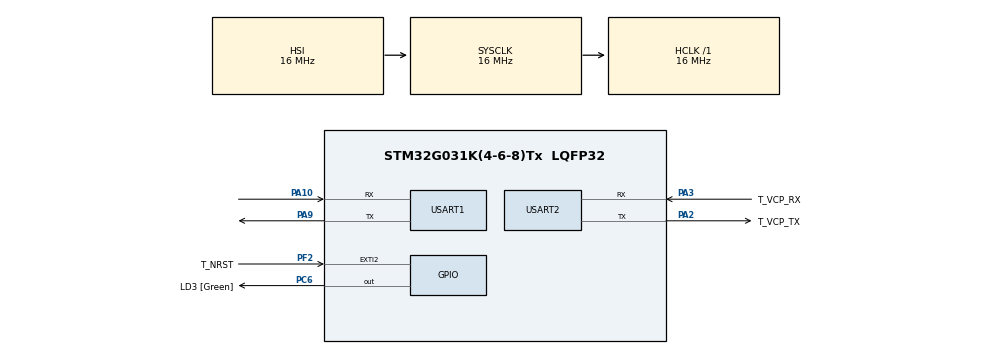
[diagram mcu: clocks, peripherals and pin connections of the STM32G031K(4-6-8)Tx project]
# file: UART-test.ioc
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Mcu.Family=STM32G0
Mcu.Name=STM32G031K(4-6-8)Tx
Mcu.Package=LQFP32
NVIC.USART1_IRQn=true\:0\:0\:false\:false\:true\:true\:true\:true
NVIC.USART2_IRQn=true\:0\:0\:false\:false\:true\:true\:true\:true
PA10.Mode=Asynchronous
PA10.Signal=USART1_RX
PA13.GPIO_Label=T_JTMS
PA13.Mode=Serial_Wire
PA13.Signal=SYS_SWDIO
PA14-BOOT0.GPIO_Label=T_JTCK
PA14-BOOT0.Mode=Serial_Wire
PA14-BOOT0.Signal=SYS_SWCLK
PA2.GPIO_Label=T_VCP_TX
PA2.GPIO_PuPd=GPIO_PULLUP
PA2.Mode=Asynchronous
PA2.Signal=USART2_TX
PA3.GPIO_Label=T_VCP_RX
PA3.GPIO_PuPd=GPIO_PULLUP
PA3.Mode=Asynchronous
PA3.Signal=USART2_RX
PA9.Mode=Asynchronous
PA9.Signal=USART1_TX
PC14-OSC32_IN\ (PC14).Mode=LSE-External-Oscillator
PC14-OSC32_IN\ (PC14).Signal=RCC_OSC32_IN
PC15-OSC32_OUT\ (PC15).Mode=LSE-External-Oscillator
PC15-OSC32_OUT\ (PC15).Signal=RCC_OSC32_OUT
PC6.GPIO_Label=LD3 [Green]
PC6.Signal=GPIO_Output
PF2\ -\ NRST.GPIO_Label=T_NRST
PF2\ -\ NRST.Signal=GPXTI2
ProjectManager.HeapSize=0x200
ProjectManager.StackSize=0x400
ProjectManager.TargetToolchain=STM32CubeIDE
RCC.AHBFreq_Value=16000000
RCC.CortexFreq_Value=16000000
RCC.EXTERNAL_CLOCK_VALUE=12288000
RCC.HCLKFreq_Value=16000000
RCC.HSE_VALUE=8000000
RCC.HSI_VALUE=16000000
RCC.SYSCLKFreq_VALUE=16000000
RCC.VCOOutputFreq_Value=128000000
USART1.VirtualMode-Asynchronous=VM_ASYNC
USART2.VirtualMode-Asynchronous=VM_ASYNC
USART2.WordLength=WORDLENGTH_7B
board=NUCLEO-G031K8

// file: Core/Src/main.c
/* USER CODE BEGIN Header */
/**
  ******************************************************************************
  * @file           : main.c
  * @brief          : Main program body
  ******************************************************************************
  * @attention
  *
  * Copyright (c) 2024 STMicroelectronics.
  * All rights reserved.
  *
  * This software is licensed under terms that can be found in the LICENSE file
  * in the root directory of this software component.
  * If no LICENSE file comes with this software, it is provided AS-IS.
  *
  ******************************************************************************
  */
/* USER CODE END Header */
#include "main.h"

/* USER CODE BEGIN Includes */
#include <stdbool.h>
/* USER CODE END Includes */

UART_HandleTypeDef huart1;
UART_HandleTypeDef huart2;

void SystemClock_Config(void);
static void MX_GPIO_Init(void);
static void MX_USART1_UART_Init(void);
static void MX_USART2_UART_Init(void);

/* USER CODE BEGIN 0 */
#define RX_SIZE 64
#define MAX_PAYLOAD 16

#define STARTBYTE 0xAA
#define ENDBYTE 0x55

typedef struct
{
	uint8_t StartByte;
	uint8_t Length;
	uint8_t Payload[MAX_PAYLOAD];
	uint8_t CheckSum;
	uint8_t EndByte;
}Received_Frame;

typedef struct {
	uint8_t data[RX_SIZE];
	uint16_t head, tail;
}RingBuffer;

typedef struct{
	uint8_t payload[MAX_PAYLOAD];
	uint8_t length;
}Packet;

bool push_byte(RingBuffer *rb, uint8_t byte)
{
	rb->data[rb->head] = byte ;
	rb->head += 1;

	if (rb->head == RX_SIZE)
	{
		rb->head = 0; // Roll Back
	}

	if (rb->head == rb->tail)
	{
		return 1;			// buffer Full
	}

	return 0;
}
bool pop_byte(RingBuffer *rb, uint8_t *byte)
{
	byte = rb->data[rb->tail] ;
	rb->tail += 1;

	if (rb->tail == RX_SIZE)
	{
		rb->tail = 0; // Roll Back
	}

	if (rb->tail == rb->head)
	{
		return 1;			// buffer Full
	}

	return 0;

}
typedef enum
{
	ST_Wait=0,
	ST_Parse
}STMType;

RingBuffer Rxbuff;
Packet SensorData;
bool parser_feed(uint8_t byte, Packet *packet)
{
	static STMType StateMachine;
	uint8_t checksum=0;
	switch(StateMachine)
	{
		case ST_Wait:			// wait until 16 bytes are received to chalculate the checksum
		{
			uint8_t received_byte = Rxbuff.Head - Rxbuff.tail;

			if (received_byte >= 16)		// check 16 are received
			{
				if ((Rxbuff.data[Rxbuff.tail] == STARTBYTE) && (Rxbuff.data[Rxbuff.head] == ENDBYTE)) 							// check header
				{
					 checksum=checksum(Rxbuff.data,  received_byte);
					 if (checksum == Rxbuff.data[Rxbuff.head-1])		// valid Data
					 {
						 StateMachine = ST_Parse;
					 }
					 else
					 {
						 	 	 	 	 	 	 	 	 	 	 	 	// Not valid data, parse upto next start of frame by incrementing tail
					 }
				}
			}
			break;
		}
		case ST_Parse:
		{
			uint8_t i;
			for (i = Rxbuff.tail; i< Rxbuff.head; i++)
			{
				SensorData.payload[i] = Rxbuff.data[Rxbuff.tail + i];		// copy main DATA
			}

			break;
		}
	}

}

uint8_t CheckSum(const uint8_t *buffer, uint8_t size)
{
	uint8_t i=0;
	uint8_t checksum =0 ;
	for (i=0; i<size; i++)
	{
		checksum = buffer[i] ^ checksum;
	}
	return checksum;
}

uint8_t rx;
/* USER CODE END 0 */

int main(void)
{

  /* MCU Configuration--------------------------------------------------------*/

  /* Reset of all peripherals, Initializes the Flash interface and the Systick. */
  HAL_Init();

  /* Configure the system clock */
  SystemClock_Config();

  /* Initialize all configured peripherals */
  MX_GPIO_Init();
  MX_USART1_UART_Init();
  MX_USART2_UART_Init();
  /* USER CODE BEGIN 2 */
	HAL_UART_Receive_IT(&huart1, &rx, 1);
	HAL_UART_Receive_IT(&huart2, &rx, 1);
  /* USER CODE END 2 */

  /* Infinite loop */
  while (1)
  {

  }
}

void SystemClock_Config(void)
{
  RCC_OscInitTypeDef RCC_OscInitStruct = {0};
  RCC_ClkInitTypeDef RCC_ClkInitStruct = {0};

  /** Configure the main internal regulator output voltage
  */
  HAL_PWREx_ControlVoltageScaling(PWR_REGULATOR_VOLTAGE_SCALE1);

  /** Initializes the RCC Oscillators according to the specified parameters
  * in the RCC_OscInitTypeDef structure.
  */
  RCC_OscInitStruct.OscillatorType = RCC_OSCILLATORTYPE_HSI;
  RCC_OscInitStruct.HSIState = RCC_HSI_ON;
  RCC_OscInitStruct.HSIDiv = RCC_HSI_DIV1;
  RCC_OscInitStruct.HSICalibrationValue = RCC_HSICALIBRATION_DEFAULT;
  RCC_OscInitStruct.PLL.PLLState = RCC_PLL_NONE;
  if (HAL_RCC_OscConfig(&RCC_OscInitStruct) != HAL_OK)
  {
    Error_Handler();
  }

  /** Initializes the CPU, AHB and APB buses clocks
  */
  RCC_ClkInitStruct.ClockType = RCC_CLOCKTYPE_HCLK|RCC_CLOCKTYPE_SYSCLK
                              |RCC_CLOCKTYPE_PCLK1;
  RCC_ClkInitStruct.SYSCLKSource = RCC_SYSCLKSOURCE_HSI;
  RCC_ClkInitStruct.AHBCLKDivider = RCC_SYSCLK_DIV1;
  RCC_ClkInitStruct.APB1CLKDivider = RCC_HCLK_DIV1;

  if (HAL_RCC_ClockConfig(&RCC_ClkInitStruct, FLASH_LATENCY_0) != HAL_OK)
  {
    Error_Handler();
  }
}

static void MX_USART1_UART_Init(void)
{

  huart1.Instance = USART1;
  huart1.Init.BaudRate = 115200;
  huart1.Init.WordLength = UART_WORDLENGTH_8B;
  huart1.Init.StopBits = UART_STOPBITS_1;
  huart1.Init.Parity = UART_PARITY_NONE;
  huart1.Init.Mode = UART_MODE_TX_RX;
  huart1.Init.HwFlowCtl = UART_HWCONTROL_NONE;
  huart1.Init.OverSampling = UART_OVERSAMPLING_16;
  huart1.Init.OneBitSampling = UART_ONE_BIT_SAMPLE_DISABLE;
  huart1.Init.ClockPrescaler = UART_PRESCALER_DIV1;
  huart1.AdvancedInit.AdvFeatureInit = UART_ADVFEATURE_NO_INIT;
  if (HAL_UART_Init(&huart1) != HAL_OK)
  {
    Error_Handler();
  }
  if (HAL_UARTEx_SetTxFifoThreshold(&huart1, UART_TXFIFO_THRESHOLD_1_8) != HAL_OK)
  {
    Error_Handler();
  }
  if (HAL_UARTEx_SetRxFifoThreshold(&huart1, UART_RXFIFO_THRESHOLD_1_8) != HAL_OK)
  {
    Error_Handler();
  }
  if (HAL_UARTEx_DisableFifoMode(&huart1) != HAL_OK)
  {
    Error_Handler();
  }

}

static void MX_USART2_UART_Init(void)
{

  huart2.Instance = USART2;
  huart2.Init.BaudRate = 115200;
  huart2.Init.WordLength = UART_WORDLENGTH_7B;
  huart2.Init.StopBits = UART_STOPBITS_1;
  huart2.Init.Parity = UART_PARITY_NONE;
  huart2.Init.Mode = UART_MODE_TX_RX;
  huart2.Init.HwFlowCtl = UART_HWCONTROL_NONE;
  huart2.Init.OverSampling = UART_OVERSAMPLING_16;
  huart2.Init.OneBitSampling = UART_ONE_BIT_SAMPLE_DISABLE;
  huart2.Init.ClockPrescaler = UART_PRESCALER_DIV1;
  huart2.AdvancedInit.AdvFeatureInit = UART_ADVFEATURE_NO_INIT;
  if (HAL_UART_Init(&huart2) != HAL_OK)
  {
    Error_Handler();
  }

}

static void MX_GPIO_Init(void)
{
  GPIO_InitTypeDef GPIO_InitStruct = {0};

  /* GPIO Ports Clock Enable */
  __HAL_RCC_GPIOC_CLK_ENABLE();
  __HAL_RCC_GPIOF_CLK_ENABLE();
  __HAL_RCC_GPIOA_CLK_ENABLE();

  /*Configure GPIO pin Output Level */
  HAL_GPIO_WritePin(LD3_GPIO_Port, LD3_Pin, GPIO_PIN_RESET);

  /*Configure GPIO pin : T_NRST_Pin */
  GPIO_InitStruct.Pin = T_NRST_Pin;
  GPIO_InitStruct.Mode = GPIO_MODE_IT_RISING;
  GPIO_InitStruct.Pull = GPIO_NOPULL;
  HAL_GPIO_Init(T_NRST_GPIO_Port, &GPIO_InitStruct);

  /*Configure GPIO pin : LD3_Pin */
  GPIO_InitStruct.Pin = LD3_Pin;
  GPIO_InitStruct.Mode = GPIO_MODE_OUTPUT_PP;
  GPIO_InitStruct.Pull = GPIO_NOPULL;
  GPIO_InitStruct.Speed = GPIO_SPEED_FREQ_LOW;
  HAL_GPIO_Init(LD3_GPIO_Port, &GPIO_InitStruct);

}

/* USER CODE BEGIN 4 */
void HAL_UART_RxCpltCallback(UART_HandleTypeDef *huart)
{
	if(huart->Instance == USART1)
	{
		HAL_UART_Receive_IT(&huart1, &rx, 1);
	}

}
/* USER CODE END 4 */

void Error_Handler(void)
{
  __disable_irq();
  while (1)
  {
  }
}
